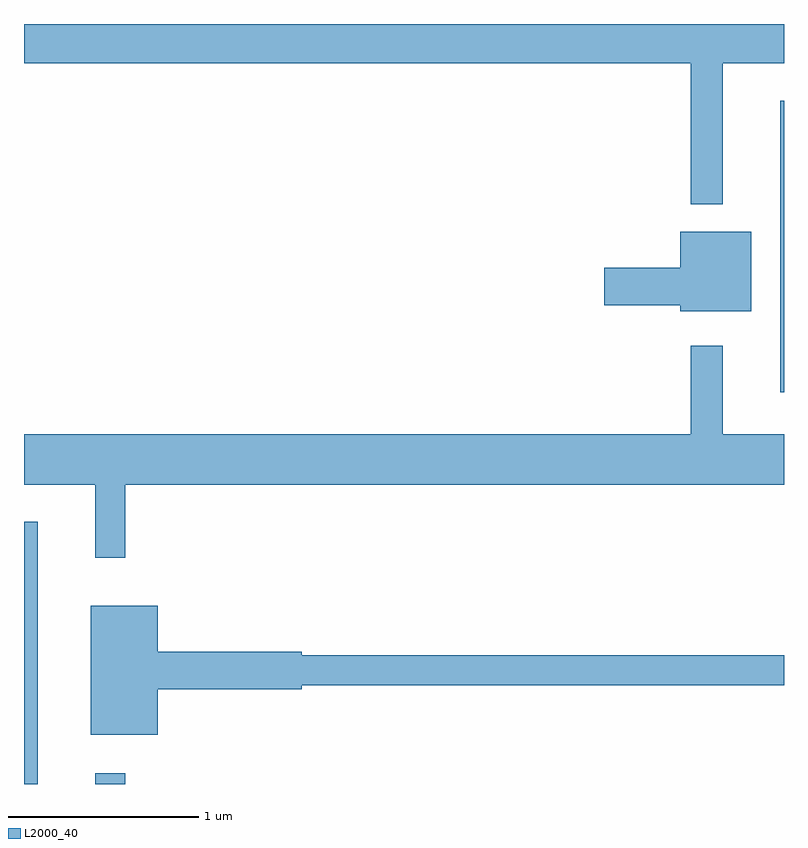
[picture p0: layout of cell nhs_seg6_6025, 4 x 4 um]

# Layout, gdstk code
import gdstk
lib = gdstk.Library(unit=1e-6, precision=1e-09)
def R(c, l, rs):  # rectangles x0, y0, x1, y1
    for r in rs: c.add(gdstk.rectangle(r[:2], r[2:], *l))
def P(c, l, *ps):  # polygons
    for p in ps: c.add(gdstk.Polygon(p, *l))
L2000_40 = (2000, 40)

nhs_seg6_6025 = lib.new_cell('nhs_seg6_6025')
R(nhs_seg6_6025, L2000_40, [(367.611,1626.162,367.684,1627.543), (367.986,1626.162,368.144,1626.218), (371.591,1628.223,371.611,1629.759)])
P(nhs_seg6_6025, L2000_40, [(371.289,1629.956),(371.611,1629.956),(371.611,1630.162),(367.611,1630.162),(367.611,1629.956),(371.121,1629.956),(371.121,1629.213),(371.289,1629.213)],
  [(371.439,1629.069),(371.066,1629.069),(371.066,1628.879),(370.666,1628.879),(370.666,1628.681),(371.066,1628.681),(371.066,1628.651),(371.439,1628.651)],
  [(368.144,1627.736),(371.611,1627.736),(371.611,1628.004),(371.289,1628.004),(371.289,1628.468),(371.121,1628.468),(371.121,1628.004),(367.611,1628.004),(367.611,1627.736),(367.986,1627.736),(367.986,1627.353),(368.144,1627.353)],
  [(368.314,1626.661),(369.074,1626.661),(369.074,1626.681),(371.611,1626.681),(371.611,1626.839),(369.074,1626.839),(369.074,1626.859),(368.314,1626.859),(368.314,1627.099),(367.961,1627.099),(367.961,1626.421),(368.314,1626.421)])

lib.write_gds('nhs_seg6_6025.gds')
